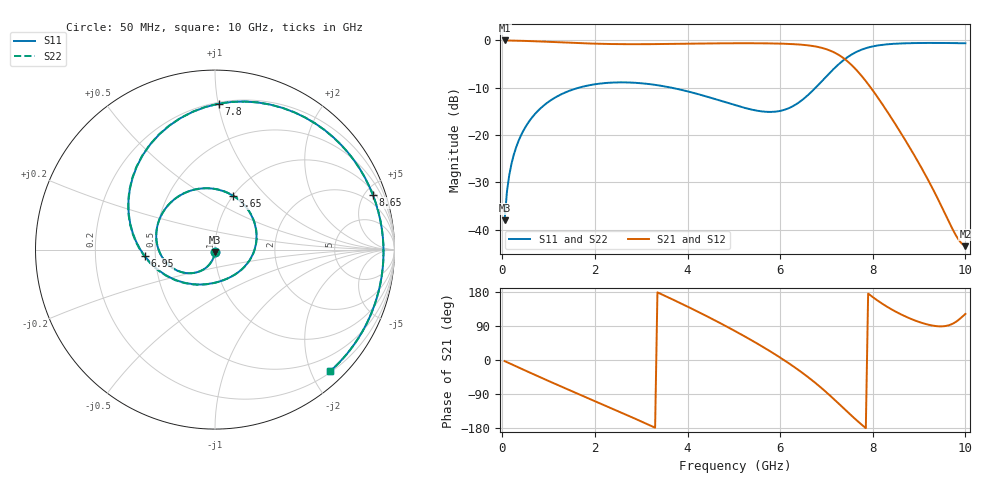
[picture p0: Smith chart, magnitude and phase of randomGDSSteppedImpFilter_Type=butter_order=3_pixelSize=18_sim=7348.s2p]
! freq	dB(S11)	phase(S11)	dB(S12)	phase(S12)
!  dB(S21)	phase(S21)	dB(S22)	phase(S22)
!S-par simulation data
#  GHz  S  DB  R 50
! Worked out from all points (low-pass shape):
!   200 points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, 50 MHz to 10 GHz, reference 50 ohm
!   highest |S21| = -0.01 dB at 50 MHz (marker M1); lowest = -43.5 dB at 10 GHz (marker M2)
!   |S21| within 3 dB of the highest: start of sweep to 7.255 GHz
!   lowest |S11| = -38.1 dB at 50 MHz (marker M3), VSWR 1.03, Z = 49.9 - j1.25 ohm
!   |S11| at or under -10 dB: start of sweep to 1.652 GHz; 3.653 GHz to 6.765 GHz (3.112 GHz wide, 59.7 % of centre)
!   |S22| runs from -38.1 to -0.5 dB; largest |S21 - S12| = 0
!   S11 on the Smith chart (normalised r, x): 50 MHz: 1.00, -0.02; 3.65 GHz: 1.00, +0.67; 6.95 GHz: 0.44, -0.04; 7.8 GHz: 0.21, +1.00; 8.65 GHz: 1.24, +5.68; 10 GHz: 0.22, -2.31
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0.05  -38.06 -92.4  -0.01 -2.9  -0.01 -2.9  -38.07 -92.4
0.1  -32.02 -95.4  -0.01 -5.7  -0.01 -5.7  -32.02 -95.3
0.2  -26.01 -101.5  -0.03 -11.3  -0.03 -11.3  -26.02 -101.5
0.5  -18.32 -118.4  -0.10 -28.0  -0.10 -28.0  -18.32 -118.5
1.15  -12.03 -154.1  -0.36 -63.5  -0.36 -63.5  -12.03 -154.2
1.75  -9.75 174.0  -0.61 -95.4  -0.61 -95.4  -9.75 173.8
2.65  -8.88 126.5  -0.79 -143.1  -0.79 -143.1  -8.87 126.2
3.4  -9.55 85.6  -0.77 175.7  -0.77 175.7  -9.55 85.1
3.65  -9.99 71.5  -0.74 161.4  -0.74 161.4  -9.99 71.0
4.45  -11.98 24.3  -0.63 113.5  -0.63 113.5  -11.97 23.7
5.05  -13.76 -13.6  -0.59 74.8  -0.59 74.8  -13.75 -14.0
5.5  -14.86 -44.3  -0.60 43.8  -0.60 43.8  -14.85 -44.5
5.95  -15.00 -78.6  -0.66 10.3  -0.66 10.3  -14.99 -78.3
6.35  -13.47 -113.6  -0.82 -22.4  -0.82 -22.4  -13.46 -112.9
6.7  -10.64 -148.0  -1.17 -54.5  -1.17 -54.5  -10.64 -147.2
6.95  -8.11 -174.8  -1.71 -80.0  -1.71 -80.0  -8.11 -174.1
7.4  -3.93 133.2  -3.98 -130.7  -3.98 -130.7  -3.94 133.6
7.8  -1.80 88.6  -7.99 -174.8  -7.99 -174.8  -1.80 88.8
8.35  -0.79 39.8  -15.61 137.6  -15.61 137.6  -0.79 39.9
8.65  -0.62 19.1  -20.26 118.0  -20.26 118.0  -0.62 19.1
9.2  -0.53 -11.7  -29.61 93.1  -29.61 93.1  -0.53 -11.8
10  -0.60 -46.5  -43.52 121.6  -43.52 121.6  -0.60 -46.6
